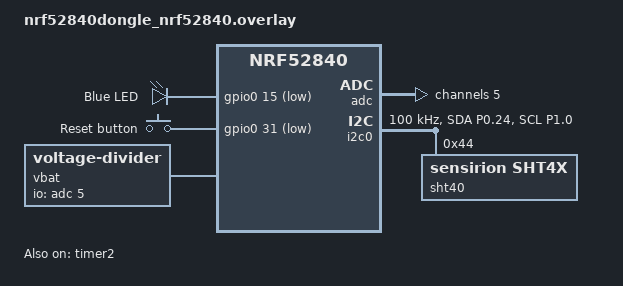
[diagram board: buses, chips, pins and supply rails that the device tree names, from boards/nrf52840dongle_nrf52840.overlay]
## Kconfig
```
# Import the main Zephyr Kconfig rules
source "Kconfig.zephyr"

config FROSTBEE_MODEL_ID
    string "Frostbee Model Identifier"
    default "FBE_UNKNOWN"
    help
      This string is passed to the Zigbee Basic Cluster Model ID attribute.
```

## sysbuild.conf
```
SB_CONFIG_BOOTLOADER_MCUBOOT=y
SB_CONFIG_DFU_MULTI_IMAGE_PACKAGE_BUILD=y
SB_CONFIG_DFU_MULTI_IMAGE_PACKAGE_APP=y
```

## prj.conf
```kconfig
# Frostbee - Zigbee Temperature & Humidity Sensor
# Board: nRF52840 Dongle
#
# Unified configuration for dev and prod.
# ZBOSS NVRAM partitions are in pm_static.yml for persistent Zigbee storage.
# MCUboot bootloader enables Zigbee OTA updates (see pm_static.yml for flash layout).
#
# Build:
#   west build -b nrf52840dongle/nrf52840 app

# ─── Core ───
CONFIG_I2C=y
CONFIG_PINCTRL=y
CONFIG_SENSOR=y
CONFIG_GPIO=y
CONFIG_ADC=y
CONFIG_PM_DEVICE=y
CONFIG_PM_DEVICE_RUNTIME=y

# ─── OTA (Zigbee FOTA via MCUboot) ───
CONFIG_BOOTLOADER_MCUBOOT=y
CONFIG_ZIGBEE_FOTA=y
CONFIG_ZIGBEE_FOTA_PROGRESS_EVT=y
CONFIG_IMG_MANAGER=y
CONFIG_STREAM_FLASH=y
CONFIG_FLASH_MAP=y
CONFIG_FLASH=y
# Manufacturer code and image type must match the .zigbee OTA file header.
# Z2M uses these to match OTA files to the right device.
CONFIG_ZIGBEE_FOTA_MANUFACTURER_ID=0x1234
CONFIG_ZIGBEE_FOTA_IMAGE_TYPE=0x0001
CONFIG_ZIGBEE_FOTA_DATA_BLOCK_SIZE=64

# ─── Zigbee ───
CONFIG_ZIGBEE_ADD_ON=y
CONFIG_ZIGBEE_APP_UTILS=y
CONFIG_ZIGBEE_ROLE_END_DEVICE=y

# Scan all Zigbee channels (11-26) instead of single channel
CONFIG_ZIGBEE_CHANNEL_SELECTION_MODE_MULTI=y

CONFIG_HEAP_MEM_POOL_SIZE=4096
CONFIG_SYSTEM_WORKQUEUE_STACK_SIZE=2048

# Networking (disable IP stack, not needed for Zigbee)
CONFIG_NET_IPV6=n
CONFIG_NET_IP_ADDR_CHECK=n
CONFIG_NET_UDP=n

# ─── Logging (enabled for development) ───
CONFIG_LOG=y
CONFIG_LOG_DEFAULT_LEVEL=3
CONFIG_SERIAL=y
CONFIG_CONSOLE=y
CONFIG_UART_CONSOLE=y
CONFIG_UART_INTERRUPT_DRIVEN=y
CONFIG_USB_DEVICE_STACK=y
CONFIG_USB_CDC_ACM=y
CONFIG_UART_LINE_CTRL=y
CONFIG_KERNEL_LOG_LEVEL_WRN=y
CONFIG_USB_DRIVER_LOG_LEVEL_ERR=y
CONFIG_NRF_USBD_COMMON_LOG_LEVEL_ERR=y
CONFIG_USBC_LOG_LEVEL_ERR=y
CONFIG_MAIN_STACK_SIZE=4096
CONFIG_ZIGBEE_FOTA_LOG_LEVEL_DBG=y

# Other
CONFIG_SIZE_OPTIMIZATIONS=y
```

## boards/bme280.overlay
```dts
#include "common.dtsi"

&i2c0 {
    sensor_on_i2c: bme280: bme280@76 {
        compatible = "bosch,bme280";
        reg = <0x76>;
    };
};
```

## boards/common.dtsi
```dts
/ {
    chosen {
        ncs,zigbee-timer = &timer2;
    };

    leds {
        compatible = "gpio-leds";
        led0_green: led_0 {
            gpios = <&gpio0 15 GPIO_ACTIVE_LOW>;
            label = "Blue LED";
        };
    };

    buttons {
        compatible = "gpio-keys";
        reset_button: button_0 {
            gpios = <&gpio0 31 (GPIO_PULL_UP | GPIO_ACTIVE_LOW)>;
            label = "Reset button";
        };
    };

    aliases {
        led0 = &led0_green;
        sw0 = &reset_button;
        th-sensor = &sensor_on_i2c;
    };

    vbat {
        compatible = "voltage-divider";
        io-channels = <&adc 5>;
        output-ohms = <10000>;
        full-ohms = <20000>;
    };

    vbat_enable {
        compatible = "gpio-leds";
        vbat_en: vbat_enable_pin {
            gpios = <&gpio0 2 GPIO_ACTIVE_LOW>;
            label = "Battery voltage divider enable";
        };
    };
};

&adc {
    status = "okay";
    #address-cells = <1>;
    #size-cells = <0>;

    channel@5 {
        reg = <5>;
        zephyr,gain = "ADC_GAIN_1_6";
        zephyr,reference = "ADC_REF_INTERNAL";
        zephyr,acquisition-time = <ADC_ACQ_TIME_DEFAULT>;
        zephyr,input-positive = <NRF_SAADC_AIN5>;
        zephyr,resolution = <12>;
    };
};

&i2c0 {
    compatible = "nordic,nrf-twim";
    status = "okay";
    pinctrl-0 = <&i2c0_default>;
    pinctrl-1 = <&i2c0_sleep>;
    pinctrl-names = "default", "sleep";
    clock-frequency = <I2C_BITRATE_STANDARD>;
};

&pinctrl {
    i2c0_default: i2c0_default {
        group1 {
            psels = <NRF_PSEL(TWIM_SDA, 0, 24)>,
                    <NRF_PSEL(TWIM_SCL, 1, 0)>;
        };
    };

    i2c0_sleep: i2c0_sleep {
        group1 {
            psels = <NRF_PSEL(TWIM_SDA, 0, 24)>,
                    <NRF_PSEL(TWIM_SCL, 1, 0)>;
            low-power-enable;
        };
    };
};

&timer2 { status = "okay"; };
```

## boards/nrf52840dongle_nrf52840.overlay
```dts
/ {
	chosen {
		ncs,zigbee-timer = &timer2;
	};

	leds {
		compatible = "gpio-leds";
		led0_green: led_0 {
			gpios = <&gpio0 15 GPIO_ACTIVE_LOW>;
			label = "Blue LED";
		};
	};

	buttons {
		compatible = "gpio-keys";
		reset_button: button_0 {
			gpios = <&gpio0 31 (GPIO_PULL_UP | GPIO_ACTIVE_LOW)>;
			label = "Reset button";
		};
	};

	aliases {
		led0 = &led0_green;
		sw0 = &reset_button;
	};

	/* Permanently connected battery voltage divider */
	vbat {
		compatible = "voltage-divider";
		io-channels = <&adc 5>;  /* P0.29 = AIN5 */
		output-ohms = <100000>;  /* R2 = 100kΩ */
		full-ohms = <200000>;    /* R1 + R2 = 200kΩ */
	};
};

/* ADC for battery voltage measurement on P0.29 (AIN5) */
&adc {
	status = "okay";
	#address-cells = <1>;
	#size-cells = <0>;

	channel@5 {
		reg = <5>;
		zephyr,gain = "ADC_GAIN_1_6";
		zephyr,reference = "ADC_REF_INTERNAL";
		zephyr,acquisition-time = <ADC_ACQ_TIME_DEFAULT>;
		zephyr,input-positive = <NRF_SAADC_AIN5>;  /* P0.29 */
		zephyr,resolution = <12>;
	};
};

/* I2C bus for SHT40: SDA = P0.24, SCL = P1.00 */
&i2c0 {
	compatible = "nordic,nrf-twim";
	status = "okay";
	pinctrl-0 = <&i2c0_default>;
	pinctrl-1 = <&i2c0_sleep>;
	pinctrl-names = "default", "sleep";
	clock-frequency = <I2C_BITRATE_STANDARD>;

	sht40: sht4x@44 {
		compatible = "sensirion,sht4x";
		reg = <0x44>;
		repeatability = <2>;
	};
};

&pinctrl {
	i2c0_default: i2c0_default {
		group1 {
			psels = <NRF_PSEL(TWIM_SDA, 0, 24)>,
				<NRF_PSEL(TWIM_SCL, 1, 0)>;
		};
	};

	i2c0_sleep: i2c0_sleep {
		group1 {
			psels = <NRF_PSEL(TWIM_SDA, 0, 24)>,
				<NRF_PSEL(TWIM_SCL, 1, 0)>;
			low-power-enable;
		};
	};
};

&timer2 {
	status = "okay";
};
```

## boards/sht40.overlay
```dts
#include "common.dtsi"

&i2c0 {
    sensor_on_i2c: sht40: sht4x@44 {
            compatible = "sensirion,sht4x";
            reg = <0x44>;
    		repeatability = <2>;
    	};
};
```

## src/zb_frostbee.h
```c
/*
 * Frostbee - Zigbee Device Definition
 *
 * Validated production shape:
 * - single endpoint
 * - Basic, Identify, Power Config, Temp Measurement, Humidity server clusters
 * - Identify client cluster
 *
 * SPDX-License-Identifier: MIT
 */

#ifndef ZB_FROSTBEE_H
#define ZB_FROSTBEE_H 1

#define FROSTBEE_ENDPOINT          1
#define FROSTBEE_IN_CLUSTER_NUM    5
#define FROSTBEE_OUT_CLUSTER_NUM   1

#define FROSTBEE_REPORT_ATTR_COUNT \
	(ZB_ZCL_TEMP_MEASUREMENT_REPORT_ATTR_COUNT + \
	 ZB_ZCL_REL_HUMIDITY_MEASUREMENT_REPORT_ATTR_COUNT + \
	 2)

#define ZB_DECLARE_FROSTBEE_CLUSTER_LIST(                        \
		cluster_list_name,                               \
		basic_attr_list,                                 \
		identify_client_attr_list,                       \
		identify_server_attr_list,                       \
		power_config_attr_list,                          \
		temp_measurement_attr_list,                      \
		humidity_attr_list)                              \
	zb_zcl_cluster_desc_t cluster_list_name[] =              \
	{                                                        \
		ZB_ZCL_CLUSTER_DESC(                             \
			ZB_ZCL_CLUSTER_ID_BASIC,                 \
			ZB_ZCL_ARRAY_SIZE(                       \
				basic_attr_list, zb_zcl_attr_t), \
			(basic_attr_list),                       \
			ZB_ZCL_CLUSTER_SERVER_ROLE,              \
			ZB_ZCL_MANUF_CODE_INVALID),              \
		ZB_ZCL_CLUSTER_DESC(                             \
			ZB_ZCL_CLUSTER_ID_IDENTIFY,              \
			ZB_ZCL_ARRAY_SIZE(                       \
				identify_server_attr_list,        \
				zb_zcl_attr_t),                  \
			(identify_server_attr_list),              \
			ZB_ZCL_CLUSTER_SERVER_ROLE,              \
			ZB_ZCL_MANUF_CODE_INVALID),              \
		ZB_ZCL_CLUSTER_DESC(                             \
			ZB_ZCL_CLUSTER_ID_POWER_CONFIG,          \
			ZB_ZCL_ARRAY_SIZE(                       \
				power_config_attr_list,          \
				zb_zcl_attr_t),                  \
			(power_config_attr_list),                \
			ZB_ZCL_CLUSTER_SERVER_ROLE,              \
			ZB_ZCL_MANUF_CODE_INVALID),              \
		ZB_ZCL_CLUSTER_DESC(                             \
			ZB_ZCL_CLUSTER_ID_TEMP_MEASUREMENT,      \
			ZB_ZCL_ARRAY_SIZE(                       \
				temp_measurement_attr_list,       \
				zb_zcl_attr_t),                  \
			(temp_measurement_attr_list),             \
			ZB_ZCL_CLUSTER_SERVER_ROLE,              \
			ZB_ZCL_MANUF_CODE_INVALID),              \
		ZB_ZCL_CLUSTER_DESC(                             \
			ZB_ZCL_CLUSTER_ID_REL_HUMIDITY_MEASUREMENT, \
			ZB_ZCL_ARRAY_SIZE(                          \
				humidity_attr_list, zb_zcl_attr_t), \
			(humidity_attr_list),                      \
			ZB_ZCL_CLUSTER_SERVER_ROLE,                \
			ZB_ZCL_MANUF_CODE_INVALID),                \
		ZB_ZCL_CLUSTER_DESC(                             \
			ZB_ZCL_CLUSTER_ID_IDENTIFY,              \
			ZB_ZCL_ARRAY_SIZE(                       \
				identify_client_attr_list,        \
				zb_zcl_attr_t),                  \
			(identify_client_attr_list),              \
			ZB_ZCL_CLUSTER_CLIENT_ROLE,              \
			ZB_ZCL_MANUF_CODE_INVALID),              \
	}

#define ZB_ZCL_DECLARE_FROSTBEE_DESC(ep_name, ep_id, in_clust_num, out_clust_num) \
	ZB_DECLARE_SIMPLE_DESC(in_clust_num, out_clust_num);                      \
	ZB_AF_SIMPLE_DESC_TYPE(in_clust_num, out_clust_num)                       \
		simple_desc_##ep_name =                                           \
	{                                                                         \
		ep_id,                                                            \
		ZB_AF_HA_PROFILE_ID,                                              \
		ZB_HA_TEMPERATURE_SENSOR_DEVICE_ID,                               \
		0,                                                                \
		0,                                                                \
		in_clust_num,                                                     \
		out_clust_num,                                                    \
		{                                                                 \
			ZB_ZCL_CLUSTER_ID_BASIC,                                  \
			ZB_ZCL_CLUSTER_ID_IDENTIFY,                               \
			ZB_ZCL_CLUSTER_ID_POWER_CONFIG,                           \
			ZB_ZCL_CLUSTER_ID_TEMP_MEASUREMENT,                       \
			ZB_ZCL_CLUSTER_ID_REL_HUMIDITY_MEASUREMENT,               \
			ZB_ZCL_CLUSTER_ID_IDENTIFY,                               \
		}                                                                 \
	}

#define ZB_DECLARE_FROSTBEE_EP(ep_name, ep_id, cluster_list)    \
	ZB_ZCL_DECLARE_FROSTBEE_DESC(                            \
		ep_name, ep_id,                                  \
		FROSTBEE_IN_CLUSTER_NUM,                         \
		FROSTBEE_OUT_CLUSTER_NUM);                       \
	ZBOSS_DEVICE_DECLARE_REPORTING_CTX(                      \
		reporting_info##ep_name,                          \
		FROSTBEE_REPORT_ATTR_COUNT);                      \
	ZB_AF_DECLARE_ENDPOINT_DESC(                             \
		ep_name, ep_id,                                 \
		ZB_AF_HA_PROFILE_ID,                            \
		0,                                              \
		NULL,                                           \
		ZB_ZCL_ARRAY_SIZE(cluster_list,                 \
				  zb_zcl_cluster_desc_t),       \
		cluster_list,                                   \
		(zb_af_simple_desc_1_1_t *)&simple_desc_##ep_name, \
		FROSTBEE_REPORT_ATTR_COUNT,                     \
		reporting_info##ep_name,                        \
		0,                                              \
		NULL)

enum frostbee_battery_type {
    BATTERY_TYPE_ALKALINE = 0,
    BATTERY_TYPE_NIMH = 1,
    BATTERY_TYPE_LITHIUM = 2,
    BATTERY_TYPE_LIFEPO4 = 3,
};

#endif /* ZB_FROSTBEE_H */
```
